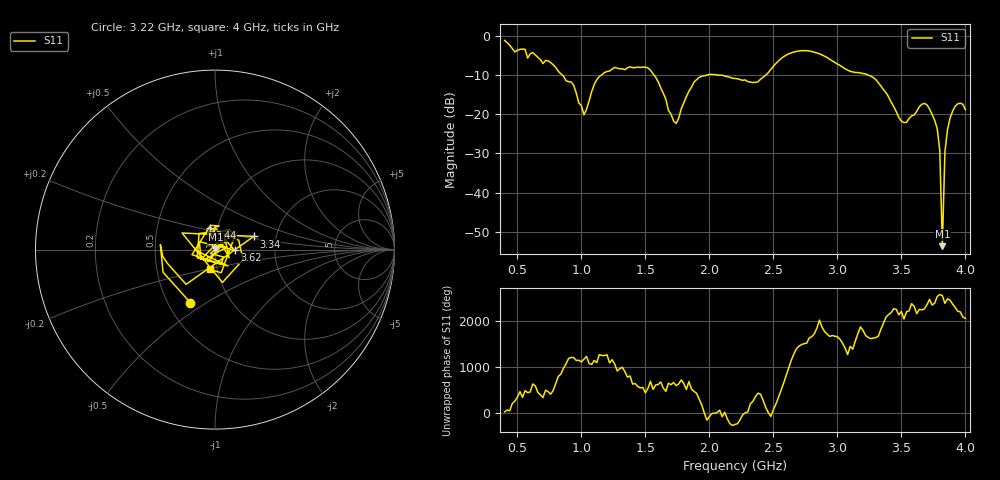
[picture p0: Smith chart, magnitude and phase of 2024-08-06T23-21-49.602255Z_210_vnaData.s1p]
!Created with skrf (http://scikit-rf.org).
# Hz S RI R 50.0
!freq ReS11 ImS11
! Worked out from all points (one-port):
!   181 points, 400 MHz to 4 GHz, reference 50 ohm
!   lowest |S11| = -53.7 dB at 3.82 GHz (marker M1), VSWR 1.00, Z = 50.2 + j0.109 ohm
!   |S11| at or under -10 dB: 1.567 GHz to 1.983 GHz (416.6 MHz wide, 23.5 % of centre); 2.06 GHz to 2.441 GHz (381.5 MHz wide, 17 % of centre); 3.239 GHz to end of sweep (the widest 3 of 4)
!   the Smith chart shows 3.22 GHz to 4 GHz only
!   S11 on the Smith chart (normalised r, x): 3.22 GHz: 0.65, -0.43; 3.34 GHz: 1.53, +0.24; 3.44 GHz: 0.92, +0.23; 3.62 GHz: 1.24, -0.01; 4 GHz: 0.92, -0.21
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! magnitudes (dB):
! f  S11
! 400 MHz  -1.2
! 860 MHz  -10.3
! 940 MHz  -12.7
! 1.02 GHz  -20.2
! 1.14 GHz  -10.4
! 1.3 GHz  -8.4
! 1.52 GHz  -8.2
! 1.72 GHz  -21.7
! 1.76 GHz  -21.1
! 1.92 GHz  -10.6
! 2.2 GHz  -10.9
! 2.38 GHz  -11.8
! 2.66 GHz  -4.1
! 3.1 GHz  -9.1
! 3.22 GHz  -9.7
! 3.34 GHz  -12.8
! 3.44 GHz  -18.1
! 3.5 GHz  -21.8
! 3.56 GHz  -21.1
! 3.62 GHz  -19.3
! 3.7 GHz  -17.6
! 3.78 GHz  -23.7
! 3.8 GHz  -29.3
! 3.82 GHz  -53.7
! 3.84 GHz  -29.7
! 3.86 GHz  -24.0
! 3.92 GHz  -18.0
! 4 GHz  -18.9
